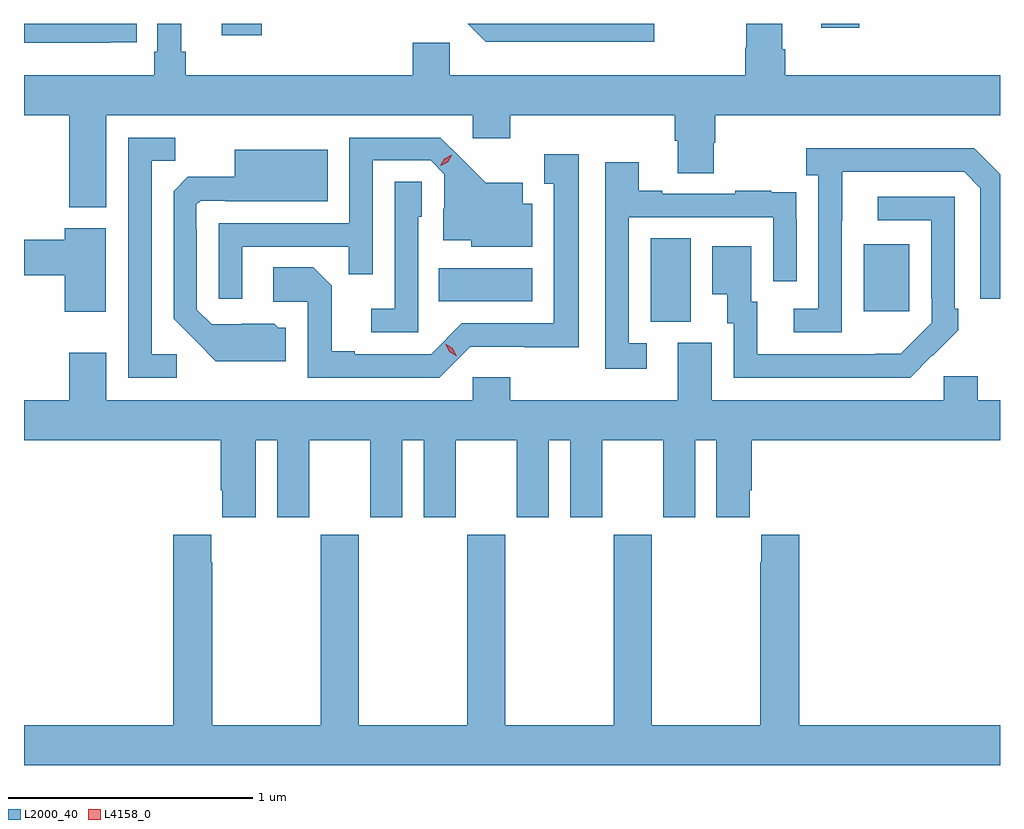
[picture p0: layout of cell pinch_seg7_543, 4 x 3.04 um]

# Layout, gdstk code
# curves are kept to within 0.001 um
import gdstk
lib = gdstk.Library(unit=1e-6, precision=1e-09)
def R(c, l, rs):  # rectangles x0, y0, x1, y1
    for r in rs: c.add(gdstk.rectangle(r[:2], r[2:], *l))
def P(c, l, *ps):  # polygons
    for p in ps: c.add(gdstk.Polygon(p, *l))
L2000_40 = (2000, 40)
L4158_0 = (4158, 0)

pinch_seg7_543 = lib.new_cell('pinch_seg7_543')
R(pinch_seg7_543, L2000_40, [(162.212,1057.045,162.376,1057.388), (163.085,1057.089,163.273,1057.363), (161.344,1057.13,161.728,1057.264), (160.454,1058.22,160.618,1058.266), (162.911,1058.25,163.067,1058.266)])
P(pinch_seg7_543, L2000_40, [(159.982,1057.892),(161.484,1057.892),(161.484,1057.797),(161.636,1057.797),(161.636,1057.892),(162.311,1057.892),(162.311,1057.786),(162.323,1057.786),(162.323,1057.654),(162.471,1057.654),(162.471,1057.779),(162.476,1057.779),(162.476,1057.892),(163.644,1057.892),(163.644,1058.056),(162.764,1058.056),(162.764,1058.162),(162.751,1058.162),(162.751,1058.266),(162.604,1058.266),(162.604,1058.169),(162.599,1058.169),(162.599,1058.056),(161.388,1058.056),(161.388,1058.188),(161.237,1058.188),(161.237,1058.056),(160.307,1058.056),(160.307,1058.152),(160.288,1058.152),(160.288,1058.266),(160.191,1058.266),(160.191,1058.152),(160.178,1058.152),(160.178,1058.056),(159.644,1058.056),(159.644,1057.892),(159.83,1057.892),(159.83,1057.514),(159.982,1057.514)],
  [(159.998,1058.19),(160.106,1058.19),(160.106,1058.266),(159.644,1058.266),(159.644,1058.189),(159.998,1058.189)],
  [(162.226,1058.266),(161.462,1058.266),(161.536,1058.192),(162.226,1058.192)],
  [(160.539,1057.353),(160.975,1057.353),(160.975,1057.24),(161.073,1057.24),(161.073,1057.707),(161.31,1057.707),(161.367,1057.65),(161.367,1057.508),(161.363,1057.508),(161.363,1057.379),(161.478,1057.379),(161.478,1057.352),(161.728,1057.352),(161.728,1057.528),(161.689,1057.528),(161.689,1057.615),(161.537,1057.615),(161.35,1057.8),(160.977,1057.8),(160.977,1057.449),(160.443,1057.449),(160.443,1057.14),(160.539,1057.14)],
  [(160.27,1056.912),(160.167,1056.912),(160.167,1057.705),(160.263,1057.705),(160.263,1057.8),(160.071,1057.8),(160.071,1056.816),(160.27,1056.816)],
  [(162.996,1057.459),(162.997,1057.659),(163.497,1057.659),(163.563,1057.593),(163.563,1057.14),(163.644,1057.14),(163.644,1057.65),(163.538,1057.756),(162.849,1057.756),(162.849,1057.646),(162.9,1057.646),(162.9,1057.098),(162.798,1057.098),(162.798,1057.002),(162.996,1057.002)],
  [(160.717,1057.02),(160.686,1057.02),(160.67,1057.036),(160.413,1057.035),(160.353,1057.095),(160.353,1057.424),(160.35,1057.424),(160.35,1057.524),(160.368,1057.542),(160.468,1057.542),(160.468,1057.538),(160.888,1057.538),(160.888,1057.75),(160.508,1057.75),(160.508,1057.639),(160.316,1057.639),(160.257,1057.58),(160.257,1057.058),(160.429,1056.884),(160.717,1056.884)],
  [(161.472,1056.942),(161.917,1056.941),(161.917,1057.732),(161.777,1057.732),(161.777,1057.611),(161.816,1057.611),(161.816,1057.038),(161.439,1057.038),(161.313,1056.912),(160.999,1056.912),(160.999,1056.925),(160.905,1056.925),(160.905,1057.192),(160.829,1057.268),(160.665,1057.268),(160.665,1057.128),(160.806,1057.128),(160.806,1056.816),(161.346,1056.816)],
  [(162.196,1056.957),(162.123,1056.957),(162.123,1057.473),(162.714,1057.473),(162.714,1057.212),(162.81,1057.212),(162.81,1057.466),(162.809,1057.466),(162.809,1057.575),(162.707,1057.575),(162.707,1057.582),(162.559,1057.582),(162.559,1057.569),(162.259,1057.569),(162.259,1057.582),(162.163,1057.582),(162.163,1057.699),(162.027,1057.699),(162.027,1056.852),(162.196,1056.852)],
  [(161.259,1057.476),(161.274,1057.476),(161.274,1057.619),(161.163,1057.619),(161.163,1057.099),(161.067,1057.099),(161.067,1057.002),(161.259,1057.002)],
  [(163.367,1056.907),(163.368,1056.906),(163.473,1057.011),(163.473,1057.099),(163.458,1057.099),(163.458,1057.557),(163.143,1057.557),(163.143,1057.461),(163.362,1057.461),(163.362,1057.141),(163.365,1057.141),(163.365,1057.041),(163.237,1056.913),(162.649,1056.912),(162.649,1057.128),(162.625,1057.128),(162.625,1057.354),(162.464,1057.354),(162.464,1057.157),(162.527,1057.157),(162.527,1057.038),(162.552,1057.038),(162.552,1056.816),(163.276,1056.816)],
  [(159.979,1057.429),(159.812,1057.429),(159.812,1057.382),(159.644,1057.382),(159.644,1057.235),(159.812,1057.235),(159.812,1057.086),(159.979,1057.086)],
  [(160.594,1056.56),(160.682,1056.56),(160.682,1056.243),(160.813,1056.243),(160.813,1056.56),(161.063,1056.56),(161.063,1056.243),(161.194,1056.243),(161.194,1056.56),(161.282,1056.56),(161.282,1056.243),(161.413,1056.243),(161.413,1056.56),(161.663,1056.56),(161.663,1056.243),(161.794,1056.243),(161.794,1056.56),(161.882,1056.56),(161.882,1056.243),(162.013,1056.243),(162.013,1056.56),(162.263,1056.56),(162.263,1056.243),(162.394,1056.243),(162.394,1056.56),(162.482,1056.56),(162.482,1056.243),(162.619,1056.243),(162.619,1056.355),(162.626,1056.355),(162.626,1056.56),(163.644,1056.56),(163.644,1056.724),(163.552,1056.724),(163.552,1056.822),(163.413,1056.822),(163.413,1056.724),(162.463,1056.724),(162.463,1056.96),(162.323,1056.96),(162.323,1056.724),(161.636,1056.724),(161.636,1056.817),(161.484,1056.817),(161.484,1056.724),(159.982,1056.724),(159.982,1056.919),(159.83,1056.919),(159.83,1056.724),(159.644,1056.724),(159.644,1056.56),(160.451,1056.56),(160.451,1056.355),(160.457,1056.355),(160.457,1056.243),(160.594,1056.243)],
  [(163.644,1055.392),(162.821,1055.392),(162.821,1056.172),(162.665,1056.172),(162.665,1056.059),(162.661,1056.059),(162.661,1055.392),(162.216,1055.392),(162.216,1056.172),(162.061,1056.172),(162.061,1055.392),(161.616,1055.392),(161.616,1056.172),(161.461,1056.172),(161.461,1055.392),(161.016,1055.392),(161.016,1056.172),(160.861,1056.172),(160.861,1055.392),(160.416,1055.392),(160.416,1056.059),(160.411,1056.059),(160.411,1056.172),(160.256,1056.172),(160.256,1055.392),(159.644,1055.392),(159.644,1055.228),(163.644,1055.228)])
P(pinch_seg7_543, L4158_0, [(161.418,1056.903),(161.386,1056.922),(161.37,1056.955),(161.37,1056.955),(161.37,1056.955),(161.401,1056.936),(161.418,1056.903),(161.418,1056.903)],
  [(161.35,1057.684),(161.35,1057.684),(161.367,1057.713),(161.397,1057.729),(161.398,1057.729),(161.398,1057.728),(161.381,1057.699),(161.351,1057.684)])

lib.write_gds('pinch_seg7_543.gds')
